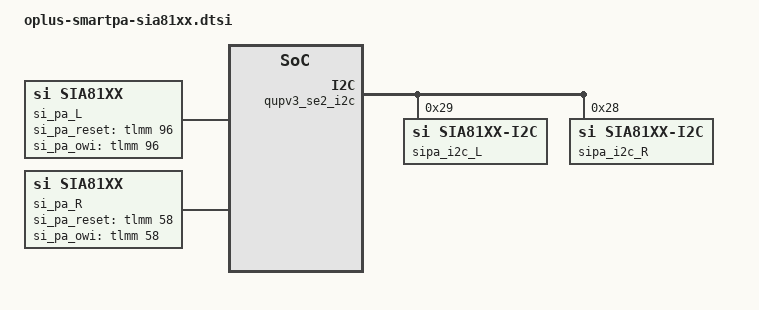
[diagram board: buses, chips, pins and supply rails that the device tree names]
/* Copyright (c) 2018, The Linux Foundation. All rights reserved.
 *
 * This program is free software; you can redistribute it and/or modify
 * it under the terms of the GNU General Public License version 2 and
 * only version 2 as published by the Free Software Foundation.
 *
 * This program is distributed in the hope that it will be useful,
 * but WITHOUT ANY WARRANTY; without even the implied warranty of
 * MERCHANTABILITY or FITNESS FOR A PARTICULAR PURPOSE.  See the
 * GNU General Public License for more details.
 */

&tlmm {
	// 2023/07/21  added for audio bring up
	sia81xx_gpio_L: sia81xx_gpio_L {
		mux {
			pins = "gpio96", "gpio96";
			function = "gpio";
		};

		config {
			pins = "gpio96", "gpio96";
			drive-strength = <6>;
			bias-disable;
		};
	};

	sia81xx_gpio_R: sia81xx_gpio_R {
		mux {
			pins = "gpio58", "gpio58";
			function = "gpio";
		};

		config {
			pins = "gpio58", "gpio58";
			drive-strength = <6>;
			bias-disable;
		};
	};
};

&soc {
	//#ifdef OPLUS_ARCH_EXTENDS
	/* 2023/07/21, Add for sia81xx */
	si_pa_L: si_pa_L{
			compatible = "si,sia81xx";
			si,si_pa_type = "sia81x9";  //compatible for sia8159 and sia8157
			si,si_pa_reset = <&tlmm 96 0x00>;
			si,si_pa_owi = <&tlmm 96 0x00>;
			pinctrl-names = "si_pa_gpio";
			pinctrl-0 = <&sia81xx_gpio_L>;

			si,si_pa_disable_pin = <0>;

			/* the same value share a same task
			 * valid value range : 0 ~ 7 */
			timer_task_hdl = <0>;

			channel_num = <0>;
			owi_mode = <1>;
	};

	si_pa_R: si_pa_R{
			compatible = "si,sia81xx";
			si,si_pa_type = "sia81x9";  //compatible for sia8159 and sia8157
			si,si_pa_reset = <&tlmm 58 0x00>;
			si,si_pa_owi = <&tlmm 58 0x00>;
			pinctrl-names = "si_pa_gpio";
			pinctrl-0 = <&sia81xx_gpio_R>;

			si,si_pa_disable_pin = <0>;

			/* the same value share a same task
			 * valid value range : 0 ~ 7 */
			timer_task_hdl = <0>;

			channel_num = <1>;
			owi_mode = <1>;
	};
	//#endif /* OPLUS_ARCH_EXTENDS */
};

&waipio_snd {
	si,sia81xx-max-num = <2>;
	si,sia81xx-aux-devs = <&si_pa_L>, <&si_pa_R>;
	si,sia81xx-aux-devs-prefix = "SpkrMonoL", "SpkrMonoR";
};

&qupv3_se2_i2c {
	// 2023/07/21  added for audio bring up
	sipa_i2c_L: sipa_i2c_L@29 {
		compatible = "si,sia81xx-i2c";
		reg = <0x29>;
		si,sipa-dev = <&si_pa_L>;
	};

	sipa_i2c_R: sipa_i2c_R@28 {
		compatible = "si,sia81xx-i2c";
		reg = <0x28>;
		si,sipa-dev = <&si_pa_R>;
	};
};

